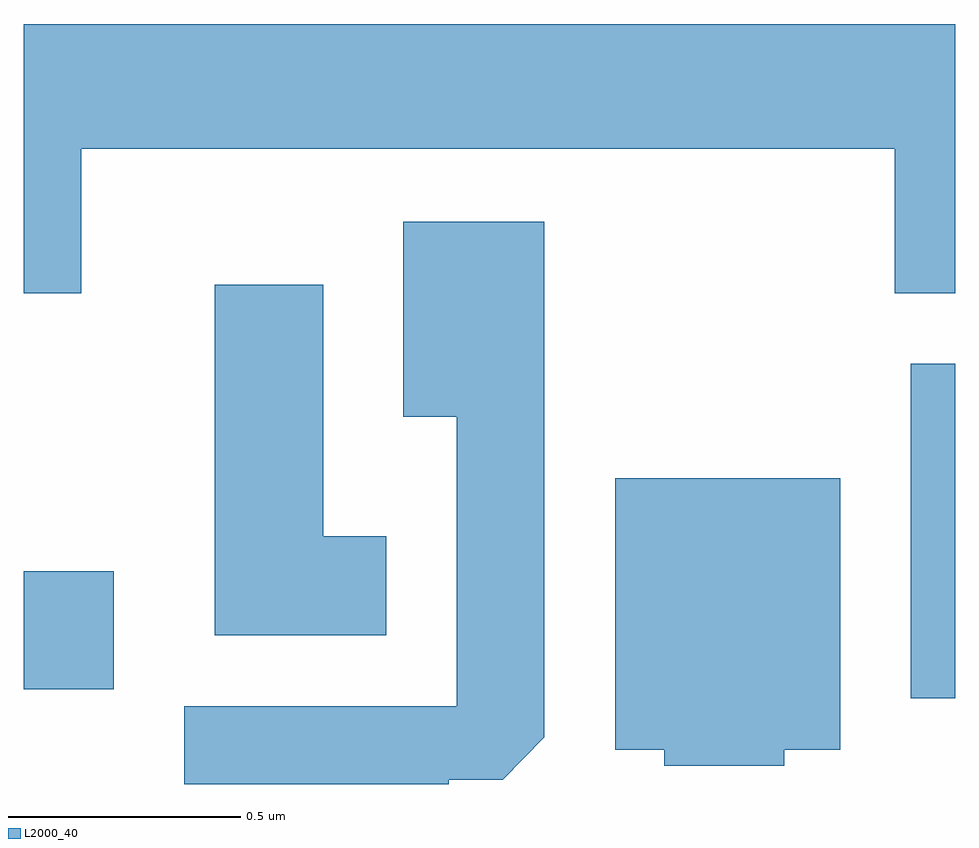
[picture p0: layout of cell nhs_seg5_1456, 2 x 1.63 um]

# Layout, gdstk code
import gdstk
lib = gdstk.Library(unit=1e-6, precision=1e-09)
def R(c, l, rs):  # rectangles x0, y0, x1, y1
    for r in rs: c.add(gdstk.rectangle(r[:2], r[2:], *l))
def P(c, l, *ps):  # polygons
    for p in ps: c.add(gdstk.Polygon(p, *l))
L2000_40 = (2000, 40)

nhs_seg5_1456 = lib.new_cell('nhs_seg5_1456')
R(nhs_seg5_1456, L2000_40, [(197.516,1482.256,197.611,1482.974), (195.611,1482.276,195.804,1482.529)])
P(nhs_seg5_1456, L2000_40, [(195.734,1483.436),(197.481,1483.436),(197.481,1483.126),(197.611,1483.126),(197.611,1483.704),(195.611,1483.704),(195.611,1483.126),(195.734,1483.126)],
  [(196.524,1482.081),(196.639,1482.081),(196.729,1482.172),(196.729,1483.279),(196.426,1483.279),(196.426,1482.861),(196.541,1482.861),(196.541,1482.239),(195.956,1482.239),(195.956,1482.072),(196.524,1482.072)],
  [(196.389,1482.604),(196.254,1482.604),(196.254,1483.144),(196.021,1483.144),(196.021,1482.391),(196.389,1482.391)],
  [(197.244,1482.146),(197.364,1482.146),(197.364,1482.729),(196.881,1482.729),(196.881,1482.146),(196.986,1482.146),(196.986,1482.111),(197.244,1482.111)])

lib.write_gds('nhs_seg5_1456.gds')
